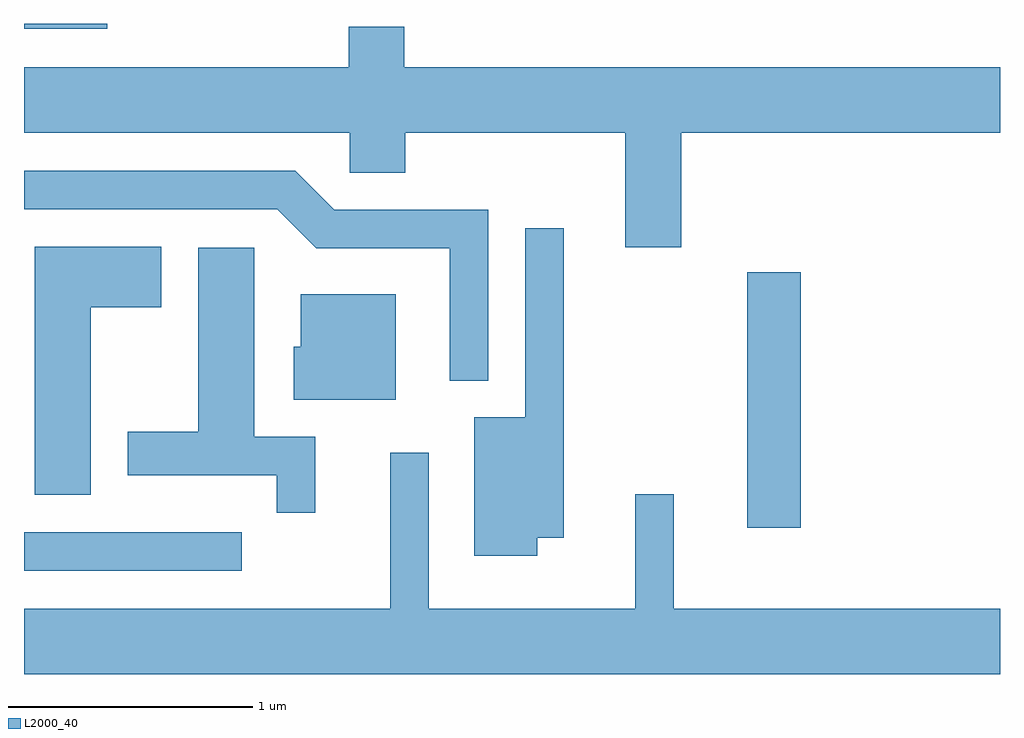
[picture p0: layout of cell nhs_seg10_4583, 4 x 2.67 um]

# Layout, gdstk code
import gdstk
lib = gdstk.Library(unit=1e-6, precision=1e-09)
def R(c, l, rs):  # rectangles x0, y0, x1, y1
    for r in rs: c.add(gdstk.rectangle(r[:2], r[2:], *l))
def P(c, l, *ps):  # polygons
    for p in ps: c.add(gdstk.Polygon(p, *l))
L2000_40 = (2000, 40)

nhs_seg10_4583 = lib.new_cell('nhs_seg10_4583')
R(nhs_seg10_4583, L2000_40, [(319.611,2174.281,320.503,2174.439), (322.576,2174.456,322.794,2175.504), (319.611,2176.501,319.953,2176.522)])
P(nhs_seg10_4583, L2000_40, [(322.304,2176.076),(323.611,2176.076),(323.611,2176.344),(321.169,2176.344),(321.169,2176.509),(320.941,2176.509),(320.941,2176.344),(319.611,2176.344),(319.611,2176.076),(320.946,2176.076),(320.946,2175.911),(321.174,2175.911),(321.174,2176.076),(322.076,2176.076),(322.076,2175.606),(322.304,2175.606)],
  [(321.514,2175.759),(320.882,2175.759),(320.722,2175.919),(319.611,2175.919),(319.611,2175.761),(320.649,2175.761),(320.809,2175.601),(321.356,2175.601),(321.356,2175.058),(321.514,2175.058)],
  [(321.714,2174.416),(321.824,2174.416),(321.824,2175.683),(321.666,2175.683),(321.666,2174.909),(321.456,2174.909),(321.456,2174.341),(321.714,2174.341)],
  [(319.884,2175.361),(320.174,2175.361),(320.174,2175.609),(319.656,2175.609),(319.656,2174.591),(319.884,2174.591)],
  [(320.804,2174.829),(320.554,2174.829),(320.554,2175.604),(320.326,2175.604),(320.326,2174.849),(320.036,2174.849),(320.036,2174.671),(320.646,2174.671),(320.646,2174.518),(320.804,2174.518)],
  [(321.134,2175.414),(320.746,2175.414),(320.746,2175.199),(320.716,2175.199),(320.716,2174.981),(321.134,2174.981)],
  [(323.611,2174.124),(322.274,2174.124),(322.274,2174.593),(322.116,2174.593),(322.116,2174.124),(321.269,2174.124),(321.269,2174.763),(321.111,2174.763),(321.111,2174.124),(319.611,2174.124),(319.611,2173.856),(323.611,2173.856)])

lib.write_gds('nhs_seg10_4583.gds')
